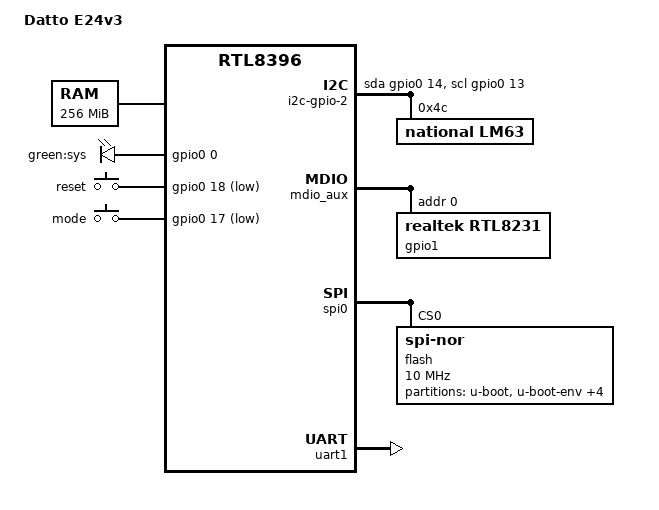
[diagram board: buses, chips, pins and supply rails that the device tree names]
/dts-v1/;

#include "rtl839x.dtsi"

#include <dt-bindings/input/input.h>
#include <dt-bindings/gpio/gpio.h>

/ {
	compatible = "datto,e24v3", "realtek,rtl8396-soc";
	model = "Datto E24v3";

	aliases {
		led-boot = &led_sys;
		led-failsafe = &led_sys;
		led-running = &led_sys;
		led-upgrade = &led_sys;
	};

	/* TODO: E24v3 has 256MB */
	memory@0 {
		device_type = "memory";
		reg = <0x0 0x10000000>;
	};

	leds {
		pinctrl-names = "default";
		pinctrl-0 = <&pinmux_disable_sys_led>;
		compatible = "gpio-leds";

		led_sys: sys {
			label = "green:sys";
			gpios = <&gpio0 0 GPIO_ACTIVE_HIGH>;
		};
	};

	keys {
		compatible = "gpio-keys";

		reset {
			label = "reset";
			gpios = <&gpio0 18 GPIO_ACTIVE_LOW>;
			linux,code = <KEY_RESTART>;
			debounce-interval = <100>;
		};

		mode {
			label = "mode";
			gpios = <&gpio0 17 GPIO_ACTIVE_LOW>;
			linux,code = <KEY_LIGHTS_TOGGLE>;
			debounce-interval = <100>;
		};
	};

	/* LM63 */
	i2c-gpio-2 {
		compatible = "i2c-gpio";
		sda-gpios = <&gpio0 14 (GPIO_ACTIVE_HIGH | GPIO_OPEN_DRAIN)>;
		scl-gpios = <&gpio0 13 GPIO_ACTIVE_HIGH>;
		i2c-gpio,delay-us = <2>;
		i2c-gpio,scl-open-drain; /* should be replaced by i2c-gpio,scl-has-no-pullup in kernel 6.6 */
		#address-cells = <1>;
		#size-cells = <0>;

		lm63@4c {
			compatible = "national,lm63";
			reg = <0x4c>;
		};
	};
};

&mdio_aux {
	status = "okay";

	gpio1: expander@0 {
		compatible = "realtek,rtl8231";
		reg = <0>;

		gpio-controller;
		#gpio-cells = <2>;
		gpio-ranges = <&gpio1 0 0 37>;

		led-controller {
			compatible = "realtek,rtl8231-leds";
			status = "disabled";
		};
	};
};

&spi0 {
	status = "okay";
	flash@0 {
		compatible = "jedec,spi-nor";
		reg = <0>;
		spi-max-frequency = <10000000>;

		partitions {
			compatible = "fixed-partitions";
			#address-cells = <1>;
			#size-cells = <1>;

			partition@0 {
				label = "u-boot";
				reg = <0x0 0x80000>;
				read-only;
			};
			partition@80000 {
				label = "u-boot-env";
				reg = <0x80000 0x10000>;
			};
			partition@90000 {
				label = "u-boot-env2";
				reg = <0x90000 0x20000>;
			};
			partition@a0000 {
				label = "cfg";
				reg = <0xa0000 0x400000>;
			};
			partition@4a0000 {
				label = "log";
				reg = <0x4a0000 0x100000>;
			};
			partition@5a0000 {
				label = "firmware";
				reg = <0x5a0000 0x1a60000>;
				compatible = "openwrt,uimage", "denx,uimage";
				openwrt,ih-magic = <0x00702202>;
			};
		};
	};
};

&mdio_bus0 {
	/* External phy RTL8218B #1 */
	PHY_C22(0,0)
	PHY_C22(1,1)
	PHY_C22(2,2)
	PHY_C22(3,3)
	PHY_C22(4,4)
	PHY_C22(5,5)
	PHY_C22(6,6)
	PHY_C22(7,7)

	/* External phy RTL8218B #2 */
	PHY_C22(8,8)
	PHY_C22(9,9)
	PHY_C22(10,10)
	PHY_C22(11,11)
	PHY_C22(12,12)
	PHY_C22(13,13)
	PHY_C22(14,14)
	PHY_C22(15,15)

	/* External phy RTL8218B #3 */
	PHY_C22(16,16)
	PHY_C22(17,17)
	PHY_C22(18,18)
	PHY_C22(19,19)
	PHY_C22(20,20)
	PHY_C22(21,21)
	PHY_C22(22,22)
	PHY_C22(23,23)
};

&uart1 {
	status = "okay";
};

&switch0 {
	ethernet-ports {
		#address-cells = <1>;
		#size-cells = <0>;

		SWITCH_PORT(0, 1, qsgmii)
		SWITCH_PORT(1, 2, qsgmii)
		SWITCH_PORT(2, 3, qsgmii)
		SWITCH_PORT(3, 4, qsgmii)
		SWITCH_PORT(4, 5, qsgmii)
		SWITCH_PORT(5, 6, qsgmii)
		SWITCH_PORT(6, 7, qsgmii)
		SWITCH_PORT(7, 8, qsgmii)

		SWITCH_PORT(8, 9, qsgmii)
		SWITCH_PORT(9, 10, qsgmii)
		SWITCH_PORT(10, 11, qsgmii)
		SWITCH_PORT(11, 12, qsgmii)
		SWITCH_PORT(12, 13, qsgmii)
		SWITCH_PORT(13, 14, qsgmii)
		SWITCH_PORT(14, 15, qsgmii)
		SWITCH_PORT(15, 16, qsgmii)

		SWITCH_PORT(16, 17, qsgmii)
		SWITCH_PORT(17, 18, qsgmii)
		SWITCH_PORT(18, 19, qsgmii)
		SWITCH_PORT(19, 20, qsgmii)
		SWITCH_PORT(20, 21, qsgmii)
		SWITCH_PORT(21, 22, qsgmii)
		SWITCH_PORT(22, 23, qsgmii)
		SWITCH_PORT(23, 24, qsgmii)

		/* CPU-Port */
		port@52 {
			ethernet = <&ethernet0>;
			reg = <52>;
			phy-mode = "internal";
			fixed-link {
				speed = <1000>;
				full-duplex;
			};
		};
	};
};
